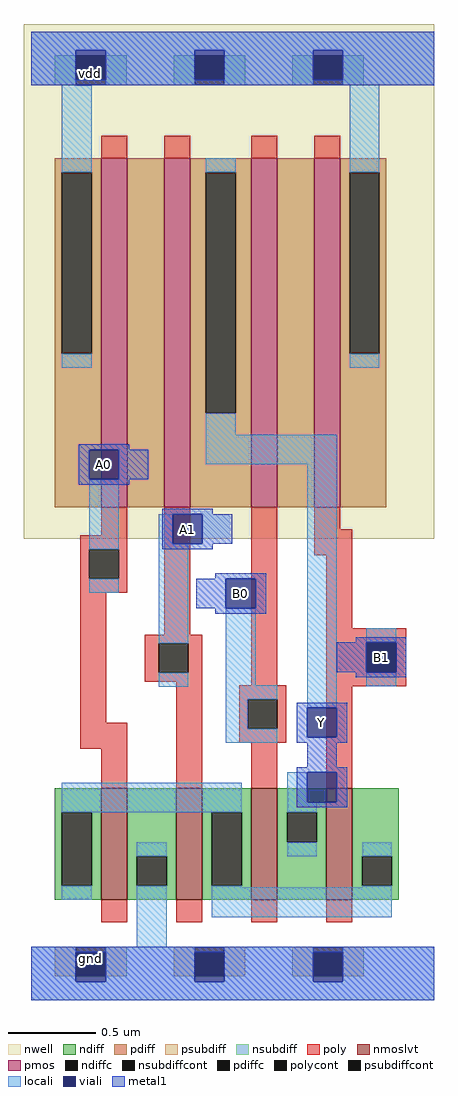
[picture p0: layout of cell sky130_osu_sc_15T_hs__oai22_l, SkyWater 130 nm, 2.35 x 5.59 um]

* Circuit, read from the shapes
.subckt sky130_osu_sc_15T_hs__oai22_l A0 A1 Y B0
XM1 gnd A0 n1 gnd sky130_fd_pr__nfet_01v8_lvt w=0.64 l=0.15
XM2 n1 A1 gnd gnd sky130_fd_pr__nfet_01v8_lvt w=0.64 l=0.15
XM3 Y B0 n1 gnd sky130_fd_pr__nfet_01v8_lvt w=0.64 l=0.15
XM4 n1 B1 Y gnd sky130_fd_pr__nfet_01v8_lvt w=0.64 l=0.15
XM5 n2 A0 vdd vdd sky130_fd_pr__pfet_01v8 w=2 l=0.15
XM6 Y A1 n2 vdd sky130_fd_pr__pfet_01v8 w=2 l=0.15
XM7 n3 B0 Y vdd sky130_fd_pr__pfet_01v8 w=2 l=0.15
XM8 vdd B1 n3 vdd sky130_fd_pr__pfet_01v8 w=2 l=0.15
.ends

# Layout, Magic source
magic
tech sky130A
magscale 1 2
<< nwell >>
rect -9 529 462 1119
<< nmoslvt >>
rect 80 115 110 243
rect 166 115 196 243
rect 252 115 282 243
rect 338 115 368 243
<< pmos >>
rect 80 565 110 965
rect 152 565 182 965
rect 252 565 282 965
rect 324 565 354 965
<< ndiff >>
rect 27 215 80 243
rect 27 131 35 215
rect 69 131 80 215
rect 27 115 80 131
rect 110 165 166 243
rect 110 131 121 165
rect 155 131 166 165
rect 110 115 166 131
rect 196 215 252 243
rect 196 131 207 215
rect 241 131 252 215
rect 196 115 252 131
rect 282 215 338 243
rect 282 181 293 215
rect 327 181 338 215
rect 282 115 338 181
rect 368 165 421 243
rect 368 131 379 165
rect 413 131 421 165
rect 368 115 421 131
<< pdiff >>
rect 27 949 80 965
rect 27 741 35 949
rect 69 741 80 949
rect 27 565 80 741
rect 110 565 152 965
rect 182 949 252 965
rect 182 673 200 949
rect 234 673 252 949
rect 182 565 252 673
rect 282 565 324 965
rect 354 949 407 965
rect 354 741 365 949
rect 399 741 407 949
rect 354 565 407 741
<< ndiffc >>
rect 35 131 69 215
rect 121 131 155 165
rect 207 131 241 215
rect 293 181 327 215
rect 379 131 413 165
<< pdiffc >>
rect 35 741 69 949
rect 200 673 234 949
rect 365 741 399 949
<< psubdiff >>
rect 27 27 51 61
rect 85 27 109 61
rect 163 27 187 61
rect 221 27 245 61
rect 299 27 323 61
rect 357 27 381 61
<< nsubdiff >>
rect 27 1049 51 1083
rect 85 1049 109 1083
rect 163 1049 187 1083
rect 221 1049 245 1083
rect 299 1049 323 1083
rect 357 1049 381 1083
<< psubdiffcont >>
rect 51 27 85 61
rect 187 27 221 61
rect 323 27 357 61
<< nsubdiffcont >>
rect 51 1049 85 1083
rect 187 1049 221 1083
rect 323 1049 357 1083
<< poly >>
rect 80 965 110 991
rect 152 965 182 991
rect 252 965 282 991
rect 324 965 354 991
rect 80 533 110 565
rect 56 517 110 533
rect 56 483 66 517
rect 100 483 110 517
rect 56 467 110 483
rect 56 318 86 467
rect 152 419 182 565
rect 130 409 196 419
rect 130 375 146 409
rect 180 375 196 409
rect 130 365 196 375
rect 56 288 110 318
rect 80 243 110 288
rect 166 243 196 365
rect 252 361 282 565
rect 324 540 354 565
rect 324 510 368 540
rect 338 426 368 510
rect 338 410 430 426
rect 338 376 384 410
rect 418 376 430 410
rect 238 345 292 361
rect 238 311 248 345
rect 282 311 292 345
rect 238 295 292 311
rect 338 360 430 376
rect 252 243 282 295
rect 338 243 368 360
rect 80 89 110 115
rect 166 89 196 115
rect 252 89 282 115
rect 338 89 368 115
<< polycont >>
rect 66 483 100 517
rect 146 375 180 409
rect 384 376 418 410
rect 248 311 282 345
<< locali >>
rect 0 1089 462 1110
rect 0 1049 51 1089
rect 85 1049 187 1089
rect 221 1049 323 1089
rect 357 1049 462 1089
rect 35 949 69 1049
rect 35 725 69 741
rect 200 949 234 965
rect 365 949 399 1049
rect 365 725 399 741
rect 200 648 234 673
rect 200 614 350 648
rect 66 517 100 597
rect 66 467 100 483
rect 146 523 162 557
rect 146 409 180 523
rect 146 359 180 375
rect 223 361 257 449
rect 223 345 282 361
rect 223 311 248 345
rect 223 295 282 311
rect 316 335 350 614
rect 384 410 418 426
rect 384 360 418 376
rect 35 215 241 249
rect 35 115 69 131
rect 121 165 155 181
rect 121 61 155 131
rect 293 227 316 261
rect 293 215 327 227
rect 293 165 327 181
rect 379 165 413 181
rect 207 129 241 131
rect 379 129 413 131
rect 207 95 413 129
rect 0 21 51 61
rect 85 21 187 61
rect 221 21 323 61
rect 357 21 462 61
rect 0 0 462 21
<< viali >>
rect 51 1083 85 1089
rect 51 1055 85 1083
rect 187 1083 221 1089
rect 187 1055 221 1083
rect 323 1083 357 1089
rect 323 1055 357 1083
rect 66 597 100 631
rect 162 523 196 557
rect 223 449 257 483
rect 384 376 418 410
rect 316 301 350 335
rect 316 227 350 261
rect 51 27 85 55
rect 51 21 85 27
rect 187 27 221 55
rect 187 21 221 27
rect 323 27 357 55
rect 323 21 357 27
<< metal1 >>
rect 0 1089 462 1110
rect 0 1055 51 1089
rect 85 1055 187 1089
rect 221 1055 323 1089
rect 357 1055 462 1089
rect 0 1049 462 1055
rect 54 631 112 637
rect 54 597 66 631
rect 100 597 134 631
rect 54 591 112 597
rect 150 557 208 563
rect 150 523 162 557
rect 196 523 230 557
rect 150 517 208 523
rect 211 483 269 489
rect 189 449 223 483
rect 257 449 269 483
rect 211 443 269 449
rect 372 410 430 416
rect 350 376 384 410
rect 418 376 430 410
rect 372 370 430 376
rect 304 335 362 341
rect 304 301 316 335
rect 350 301 362 335
rect 304 295 362 301
rect 316 267 350 295
rect 304 261 362 267
rect 304 227 316 261
rect 350 227 362 261
rect 304 221 362 227
rect 0 55 462 61
rect 0 21 51 55
rect 85 21 187 55
rect 221 21 323 55
rect 357 21 462 55
rect 0 0 462 21
<< labels >>
rlabel viali 240 466 240 466 1 B0
port 4 n
rlabel viali 179 540 179 540 1 A1
port 2 n
rlabel viali 83 614 83 614 1 A0
port 1 n
rlabel viali 333 318 333 318 1 Y
port 3 n
rlabel viali 401 393 401 393 1 B1
rlabel viali 68 48 68 48 1 gnd
rlabel viali 68 1062 68 1062 1 vdd
<< end >>
